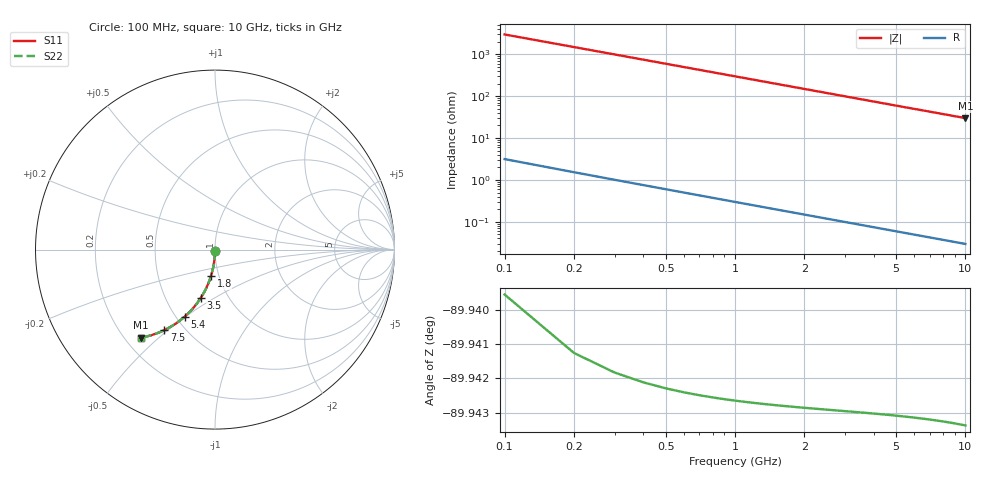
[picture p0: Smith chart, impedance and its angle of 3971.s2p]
# Hz S RI R 50.00
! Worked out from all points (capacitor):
!   100 points, 100 MHz to 10 GHz, reference 50 ohm
!   read as one part in shunt: C = 534 fF near 100 MHz
!   lowest |Z| = 30 ohm at 10 GHz (marker M1)
!   S11 on the Smith chart (normalised r, x): 100 MHz: 1.00, -0.02; 1.8 GHz: 0.92, -0.28; 3.5 GHz: 0.74, -0.44; 5.4 GHz: 0.55, -0.50; 7.5 GHz: 0.39, -0.49; 10 GHz: 0.26, -0.44
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1e8  -6.74e-05 -0.00837  0.9999 -0.0084  0.9999 -0.0084  -6.74e-05 -0.00837
2e8  -0.000286 -0.0167  0.9997 -0.0168  0.9997 -0.0168  -0.000286 -0.0167
3e8  -0.000646 -0.0251  0.9993 -0.0252  0.9993 -0.0252  -0.000646 -0.0251
4e8  -0.00115 -0.0334  0.9988 -0.0335  0.9988 -0.0335  -0.00115 -0.0334
5e8  -0.00178 -0.0418  0.9982 -0.0419  0.9982 -0.0419  -0.00178 -0.0418
6e8  -0.00256 -0.0501  0.9974 -0.0502  0.9974 -0.0502  -0.00256 -0.0501
8e8  -0.00453 -0.0667  0.9954 -0.0669  0.9954 -0.0669  -0.00453 -0.0667
1.1e9  -0.00851 -0.0913  0.9915 -0.0916  0.9915 -0.0916  -0.00851 -0.0913
1.4e9  -0.0137 -0.1155  0.9863 -0.1159  0.9863 -0.1159  -0.0137 -0.1155
1.8e9  -0.0224 -0.1472  0.9776 -0.1477  0.9776 -0.1477  -0.0224 -0.1472
2.1e9  -0.0302 -0.1704  0.9698 -0.1709  0.9698 -0.1709  -0.0302 -0.1704
2.5e9  -0.0422 -0.2003  0.9578 -0.2009  0.9578 -0.2009  -0.0422 -0.2003
2.9e9  -0.0559 -0.2289  0.944 -0.2297  0.944 -0.2297  -0.0559 -0.2289
3.4e9  -0.0752 -0.2629  0.9247 -0.2637  0.9247 -0.2637  -0.0752 -0.2629
3.5e9  -0.0794 -0.2694  0.9206 -0.2703  0.9206 -0.2703  -0.0794 -0.2694
4.3e9  -0.115 -0.318  0.885 -0.3191  0.885 -0.3191  -0.115 -0.318
5.1e9  -0.1544 -0.3602  0.8456 -0.3615  0.8456 -0.3615  -0.1544 -0.3602
5.4e9  -0.1699 -0.3743  0.8301 -0.3757  0.8301 -0.3757  -0.1699 -0.3743
6.7e9  -0.2392 -0.4253  0.7607 -0.427  0.7607 -0.427  -0.2392 -0.4253
7.5e9  -0.2825 -0.4488  0.7175 -0.4507  0.7175 -0.4507  -0.2825 -0.4488
8.4e9  -0.3304 -0.4688  0.6696 -0.4709  0.6696 -0.4709  -0.3304 -0.4688
1e10  -0.411 -0.4902  0.5889 -0.4928  0.5889 -0.4928  -0.411 -0.4902
